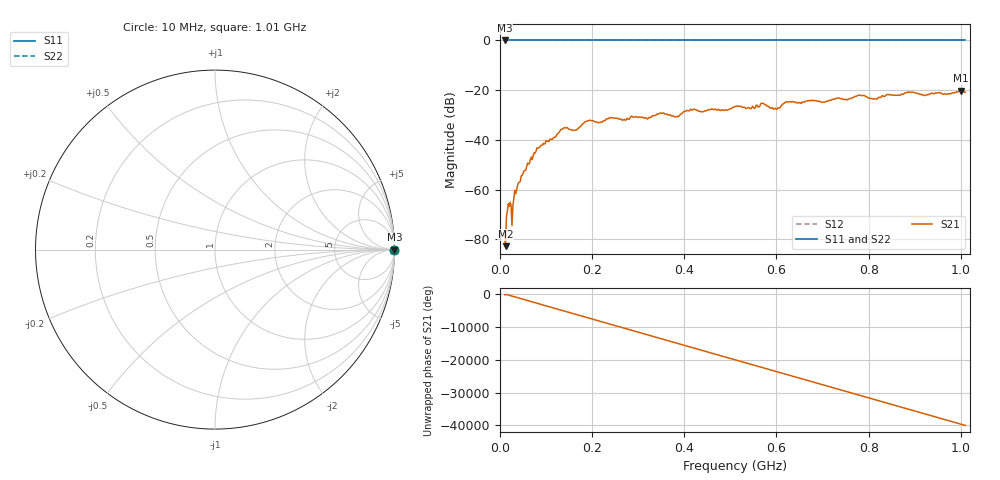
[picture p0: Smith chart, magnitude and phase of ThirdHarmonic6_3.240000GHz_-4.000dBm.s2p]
! 8/17/2025 9:56:30 AM
! C:\ANRITSUVNA\TEMP\TEMP.S2P
! CHANNEL.1
! TR.MEASUREMENT
! RAW.DATA
! RF.CORRECTION.OFF
! AVERAGING.OFF
! IF.BANDWIDTH: 5KHZ
! SWEEPTYPE:  FREQ.SWEEP(Linear)
! Reference Plane Port Info
! PORT:  PORT1  PORT2
! DISTANCE:  0  m  0  m
! TIME:  0  s  0  s
! PHASE.OFFSET:  0  deg.  0  deg.
! LOSS:  0  dB  0  dB
! REF.LOSS:  0  dB  0  dB
! REF.FREQ:  0  Hz  0  Hz
! Power Info
! POWER:  -20  dBm  -20  dBm
! EFF.POWER:  -20  dBm  -20  dBm
! SOURCE.ATTEN:  0  dB  0  dB
! TEST.ATTEN:  0  dB  0  dB
# GHZ S RI R 50.0
! FREQ.GHZ  S11RE  S11IM  S21RE  S21IM  S12RE  S12IM  S22RE  S22IM
!; PortSelection: Port_12
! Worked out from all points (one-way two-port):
!   501 points, 10 MHz to 1.01 GHz, reference 50 ohm
!   highest |S21| = -20.20 dB at 1 GHz (marker M1); lowest = -82.8 dB at 12 MHz (marker M2)
!   lowest |S11| = 0.0 dB at 10 MHz (marker M3)
!   |S11| at or under -10 dB: nowhere
!   |S22| runs from 0.0 to 0.0 dB; largest |S21 - S12| = 1.1
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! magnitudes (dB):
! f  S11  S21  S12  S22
! 10 MHz  0.0  -76.8  0.0  0.0
! 12 MHz  0.0  -82.8  0.0  0.0
! 18 MHz  0.0  -65.7  0.0  0.0
! 26 MHz  0.0  -74.4  0.0  0.0
! 42 MHz  0.0  -57.1  0.0  0.0
! 78 MHz  0.0  -44.7  0.0  0.0
! 136 MHz  0.0  -35.7  0.0  0.0
! 162 MHz  0.0  -36.1  0.0  0.0
! 178 MHz  0.0  -33.8  0.0  0.0
! 344 MHz  0.0  -29.6  0.0  0.0
! 384 MHz  0.0  -30.6  0.0  0.0
! 418 MHz  0.0  -28.0  0.0  0.0
! 510 MHz  0.0  -26.6  0.0  0.0
! 570 MHz  0.0  -25.3  0.0  0.0
! 598 MHz  0.0  -27.4  0.0  0.0
! 622 MHz  0.0  -24.8  0.0  0.0
! 678 MHz  0.0  -24.1  0.0  0.0
! 780 MHz  0.0  -22.0  0.0  0.0
! 814 MHz  0.0  -23.5  0.0  0.0
! 844 MHz  0.0  -21.9  0.0  0.0
! 1 GHz  0.0  -20.2  0.0  0.0
! 1.01 GHz  0.0  -20.9  0.0  0.0
